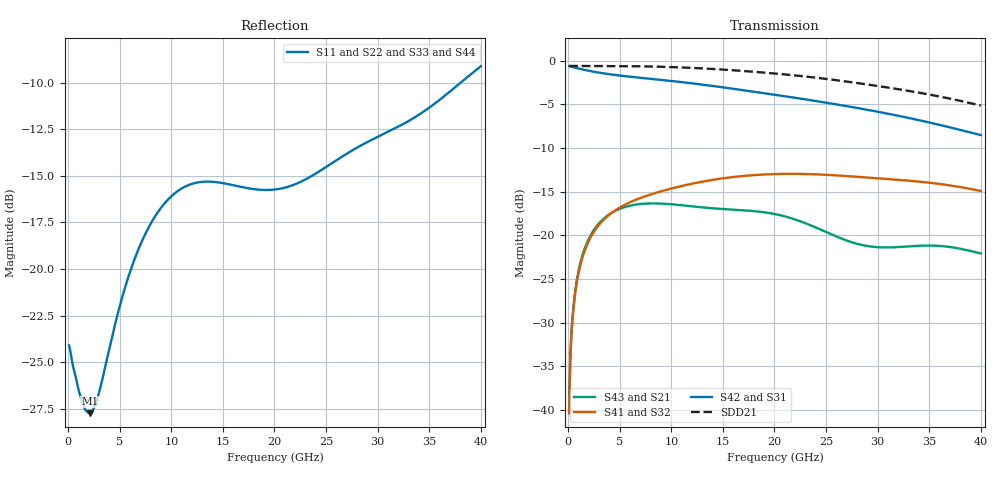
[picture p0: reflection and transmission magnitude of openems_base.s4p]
! E_s8_L1L8_p1000_round_g0: pair L1→L8, pitch 1 mm, two round antipads, 0 GND vias
! stackup: 8-layer 1.6 mm FR-4 (generic)
! ports: 1 P near, 2 N near, 3 P far, 4 N far
! openEMS 0.37.0, staircase, base mesh (dfine 0.035 mm), 752895 cells
# Hz S RI R 50
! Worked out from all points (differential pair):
!   400 points, 100 MHz to 40 GHz, reference 50 ohm
!   strongest paths, dB at 100 MHz, 10.1 GHz, 20.1 GHz, 30.1 GHz, 40 GHz:
!     S42: -0.6, -2.3, -3.9, -5.9, -8.5
!     S31: -0.6, -2.3, -3.9, -5.9, -8.5
!     S41: -40.4, -14.6, -13.0, -13.5, -14.9
!     S32: -40.4, -14.6, -13.0, -13.5, -14.9
!     S43: -40.1, -16.5, -17.6, -21.4, -22.1
!     S21: -40.1, -16.5, -17.6, -21.4, -22.1
!   taken as a pair (ports 2,1 in; 4,3 out), SDD21 dB: -0.6, -0.7, -1.5, -2.9, -5.1
!   lowest |S11| = -27.7 dB at 2.1 GHz (marker M1), VSWR 1.09, Z = 53.1 + j2.85 ohm
!   |S11| at or under -10 dB: start of sweep to 38.05 GHz
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1e8  -0.0616 0.00981  0.00385 0.0091  0.9303 -0.044  -0.00341 -0.00894
     0.00385 0.0091  -0.0616 0.00981  -0.00341 -0.00894  0.9303 -0.044
     0.9303 -0.044  -0.00342 -0.00892  -0.0616 0.00983  0.00385 0.00912
     -0.00342 -0.00892  0.9303 -0.044  0.00385 0.00912  -0.0616 0.00983
2.1e9  0.0311 0.0268  0.0976 0.00877  0.564 -0.6679  -0.0951 -0.00613
       0.0976 0.00877  0.0311 0.0268  -0.0951 -0.00613  0.564 -0.6679
       0.5639 -0.6679  -0.0951 -0.00613  0.0311 0.0268  0.0976 0.00877
       -0.0951 -0.00613  0.5639 -0.6679  0.0976 0.00877  0.0311 0.0268
7.4e9  -0.1126 -0.0491  -0.0915 -0.1211  -0.7708 -0.1928  0.0984 0.1347
       -0.0915 -0.1211  -0.1126 -0.0491  0.0984 0.1347  -0.7708 -0.1928
       -0.7708 -0.1928  0.0984 0.1347  -0.1126 -0.0491  -0.0915 -0.1211
       0.0984 0.1347  -0.7708 -0.1928  -0.0915 -0.1211  -0.1126 -0.0491
1.19e10  -0.0228 0.1673  -0.0895 0.1164  -0.0762 0.7401  0.1309 -0.1472
         -0.0895 0.1164  -0.0228 0.1673  0.1309 -0.1472  -0.0762 0.7401
         -0.0762 0.7401  0.1309 -0.1472  -0.0228 0.1673  -0.0895 0.1164
         0.1309 -0.1472  -0.0762 0.7401  -0.0895 0.1164  -0.0228 0.1673
2e10  0.0171 -0.1624  0.0932 -0.0942  0.116 -0.6284  -0.1349 0.1793
      0.0932 -0.0942  0.0171 -0.1624  -0.1349 0.1793  0.116 -0.6284
      0.116 -0.6284  -0.1349 0.1793  0.0171 -0.1624  0.0932 -0.0942
      -0.1349 0.1793  0.116 -0.6284  0.0932 -0.0942  0.0171 -0.1624
2.84e10  -0.1025 0.1885  -0.0445 0.0762  -0.0856 0.5246  0.0966 -0.1928
         -0.0445 0.0762  -0.1025 0.1885  0.0966 -0.1928  -0.0856 0.5246
         -0.0856 0.5246  0.0966 -0.1928  -0.1025 0.1885  -0.0445 0.0762
         0.0966 -0.1928  -0.0856 0.5246  -0.0445 0.0762  -0.1025 0.1885
4e10  -0.0234 -0.3491  -0.0717 -0.0325  -0.3277 -0.1825  0.1475 0.1022
      -0.0717 -0.0325  -0.0234 -0.3491  0.1475 0.1022  -0.3277 -0.1825
      -0.3277 -0.1825  0.1475 0.1022  -0.0234 -0.3491  -0.0717 -0.0325
      0.1475 0.1022  -0.3277 -0.1825  -0.0717 -0.0325  -0.0234 -0.3491
